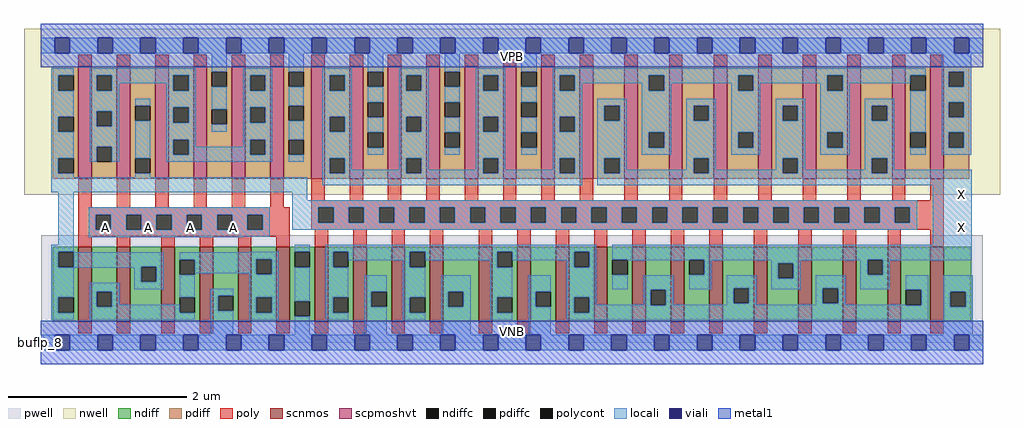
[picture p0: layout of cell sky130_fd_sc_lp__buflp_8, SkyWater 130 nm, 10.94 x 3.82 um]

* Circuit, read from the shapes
.subckt sky130_fd_sc_lp__buflp_8 A VGND VNB VPB VPWR X
XM1 n1 A n2 VNB sky130_fd_pr__nfet_01v8 w=0.84 l=0.15 m=3
XM2 VGND A n1 VNB sky130_fd_pr__nfet_01v8 w=0.84 l=0.15 m=3
XM3 n3 n2 VGND VNB sky130_fd_pr__nfet_01v8 w=0.84 l=0.15 m=8
XM4 X n2 n3 VNB sky130_fd_pr__nfet_01v8 w=0.84 l=0.15 m=8
XM5 n4 A n2 VPB sky130_fd_pr__pfet_01v8_hvt w=1.26 l=0.15 m=3
XM6 VPWR A n4 VPB sky130_fd_pr__pfet_01v8_hvt w=1.26 l=0.15 m=3
XM7 n5 n2 VPWR VPB sky130_fd_pr__pfet_01v8_hvt w=1.26 l=0.15 m=8
XM8 X n2 n5 VPB sky130_fd_pr__pfet_01v8_hvt w=1.26 l=0.15 m=8
.ends

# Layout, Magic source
magic
tech sky130A
magscale 1 2
<< nwell >>
rect -38 331 2150 704
<< pwell >>
rect 1 49 2111 241
rect 0 0 2112 49
<< scnmos >>
rect 84 47 114 215
rect 170 47 200 215
rect 270 47 300 215
rect 356 47 386 215
rect 442 47 472 215
rect 528 47 558 215
rect 614 47 644 215
rect 700 47 730 215
rect 786 47 816 215
rect 872 47 902 215
rect 982 47 1012 215
rect 1068 47 1098 215
rect 1154 47 1184 215
rect 1240 47 1270 215
rect 1326 47 1356 215
rect 1412 47 1442 215
rect 1498 47 1528 215
rect 1598 47 1628 215
rect 1698 47 1728 215
rect 1798 47 1828 215
rect 1898 47 1928 215
rect 1994 47 2024 215
<< scpmoshvt >>
rect 84 367 114 619
rect 170 367 200 619
rect 256 367 286 619
rect 342 367 372 619
rect 428 367 458 619
rect 514 367 544 619
rect 606 367 636 619
rect 692 367 722 619
rect 778 367 808 619
rect 864 367 894 619
rect 950 367 980 619
rect 1036 367 1066 619
rect 1122 367 1152 619
rect 1208 367 1238 619
rect 1308 367 1338 619
rect 1408 367 1438 619
rect 1508 367 1538 619
rect 1608 367 1638 619
rect 1708 367 1738 619
rect 1808 367 1838 619
rect 1908 367 1938 619
rect 1994 367 2024 619
<< ndiff >>
rect 27 203 84 215
rect 27 169 39 203
rect 73 169 84 203
rect 27 101 84 169
rect 27 67 39 101
rect 73 67 84 101
rect 27 47 84 67
rect 114 114 170 215
rect 114 80 125 114
rect 159 80 170 114
rect 114 47 170 80
rect 200 170 270 215
rect 200 136 225 170
rect 259 136 270 170
rect 200 47 270 136
rect 300 186 356 215
rect 300 152 311 186
rect 345 152 356 186
rect 300 101 356 152
rect 300 67 311 101
rect 345 67 356 101
rect 300 47 356 67
rect 386 105 442 215
rect 386 71 397 105
rect 431 71 442 105
rect 386 47 442 71
rect 472 187 528 215
rect 472 153 483 187
rect 517 153 528 187
rect 472 101 528 153
rect 472 67 483 101
rect 517 67 528 101
rect 472 47 528 67
rect 558 203 614 215
rect 558 169 569 203
rect 603 169 614 203
rect 558 93 614 169
rect 558 59 569 93
rect 603 59 614 93
rect 558 47 614 59
rect 644 203 700 215
rect 644 169 655 203
rect 689 169 700 203
rect 644 101 700 169
rect 644 67 655 101
rect 689 67 700 101
rect 644 47 700 67
rect 730 114 786 215
rect 730 80 741 114
rect 775 80 786 114
rect 730 47 786 80
rect 816 203 872 215
rect 816 169 827 203
rect 861 169 872 203
rect 816 101 872 169
rect 816 67 827 101
rect 861 67 872 101
rect 816 47 872 67
rect 902 114 982 215
rect 902 80 913 114
rect 947 80 982 114
rect 902 47 982 80
rect 1012 203 1068 215
rect 1012 169 1023 203
rect 1057 169 1068 203
rect 1012 101 1068 169
rect 1012 67 1023 101
rect 1057 67 1068 101
rect 1012 47 1068 67
rect 1098 114 1154 215
rect 1098 80 1109 114
rect 1143 80 1154 114
rect 1098 47 1154 80
rect 1184 203 1240 215
rect 1184 169 1195 203
rect 1229 169 1240 203
rect 1184 101 1240 169
rect 1184 67 1195 101
rect 1229 67 1240 101
rect 1184 47 1240 67
rect 1270 186 1326 215
rect 1270 152 1281 186
rect 1315 152 1326 186
rect 1270 47 1326 152
rect 1356 118 1412 215
rect 1356 84 1367 118
rect 1401 84 1412 118
rect 1356 47 1412 84
rect 1442 186 1498 215
rect 1442 152 1453 186
rect 1487 152 1498 186
rect 1442 47 1498 152
rect 1528 122 1598 215
rect 1528 88 1553 122
rect 1587 88 1598 122
rect 1528 47 1598 88
rect 1628 178 1698 215
rect 1628 144 1653 178
rect 1687 144 1698 178
rect 1628 47 1698 144
rect 1728 122 1798 215
rect 1728 88 1753 122
rect 1787 88 1798 122
rect 1728 47 1798 88
rect 1828 186 1898 215
rect 1828 152 1853 186
rect 1887 152 1898 186
rect 1828 47 1898 152
rect 1928 118 1994 215
rect 1928 84 1939 118
rect 1973 84 1994 118
rect 1928 47 1994 84
rect 2024 114 2085 215
rect 2024 80 2039 114
rect 2073 80 2085 114
rect 2024 47 2085 80
<< pdiff >>
rect 27 599 84 619
rect 27 565 39 599
rect 73 565 84 599
rect 27 506 84 565
rect 27 472 39 506
rect 73 472 84 506
rect 27 413 84 472
rect 27 379 39 413
rect 73 379 84 413
rect 27 367 84 379
rect 114 599 170 619
rect 114 565 125 599
rect 159 565 170 599
rect 114 519 170 565
rect 114 485 125 519
rect 159 485 170 519
rect 114 439 170 485
rect 114 405 125 439
rect 159 405 170 439
rect 114 367 170 405
rect 200 531 256 619
rect 200 497 211 531
rect 245 497 256 531
rect 200 413 256 497
rect 200 379 211 413
rect 245 379 256 413
rect 200 367 256 379
rect 286 599 342 619
rect 286 565 297 599
rect 331 565 342 599
rect 286 527 342 565
rect 286 493 297 527
rect 331 493 342 527
rect 286 455 342 493
rect 286 421 297 455
rect 331 421 342 455
rect 286 367 342 421
rect 372 607 428 619
rect 372 573 383 607
rect 417 573 428 607
rect 372 523 428 573
rect 372 489 383 523
rect 417 489 428 523
rect 372 367 428 489
rect 458 599 514 619
rect 458 565 469 599
rect 503 565 514 599
rect 458 527 514 565
rect 458 493 469 527
rect 503 493 514 527
rect 458 455 514 493
rect 458 421 469 455
rect 503 421 514 455
rect 458 367 514 421
rect 544 607 606 619
rect 544 573 555 607
rect 589 573 606 607
rect 544 531 606 573
rect 544 497 555 531
rect 589 497 606 531
rect 544 455 606 497
rect 544 421 555 455
rect 589 421 606 455
rect 544 367 606 421
rect 636 599 692 619
rect 636 565 647 599
rect 681 565 692 599
rect 636 506 692 565
rect 636 472 647 506
rect 681 472 692 506
rect 636 413 692 472
rect 636 379 647 413
rect 681 379 692 413
rect 636 367 692 379
rect 722 607 778 619
rect 722 573 733 607
rect 767 573 778 607
rect 722 539 778 573
rect 722 505 733 539
rect 767 505 778 539
rect 722 471 778 505
rect 722 437 733 471
rect 767 437 778 471
rect 722 367 778 437
rect 808 599 864 619
rect 808 565 819 599
rect 853 565 864 599
rect 808 506 864 565
rect 808 472 819 506
rect 853 472 864 506
rect 808 413 864 472
rect 808 379 819 413
rect 853 379 864 413
rect 808 367 864 379
rect 894 607 950 619
rect 894 573 905 607
rect 939 573 950 607
rect 894 539 950 573
rect 894 505 905 539
rect 939 505 950 539
rect 894 471 950 505
rect 894 437 905 471
rect 939 437 950 471
rect 894 367 950 437
rect 980 599 1036 619
rect 980 565 991 599
rect 1025 565 1036 599
rect 980 506 1036 565
rect 980 472 991 506
rect 1025 472 1036 506
rect 980 413 1036 472
rect 980 379 991 413
rect 1025 379 1036 413
rect 980 367 1036 379
rect 1066 607 1122 619
rect 1066 573 1077 607
rect 1111 573 1122 607
rect 1066 539 1122 573
rect 1066 505 1077 539
rect 1111 505 1122 539
rect 1066 471 1122 505
rect 1066 437 1077 471
rect 1111 437 1122 471
rect 1066 367 1122 437
rect 1152 599 1208 619
rect 1152 565 1163 599
rect 1197 565 1208 599
rect 1152 506 1208 565
rect 1152 472 1163 506
rect 1197 472 1208 506
rect 1152 413 1208 472
rect 1152 379 1163 413
rect 1197 379 1208 413
rect 1152 367 1208 379
rect 1238 531 1308 619
rect 1238 497 1263 531
rect 1297 497 1308 531
rect 1238 413 1308 497
rect 1238 379 1263 413
rect 1297 379 1308 413
rect 1238 367 1308 379
rect 1338 599 1408 619
rect 1338 565 1363 599
rect 1397 565 1408 599
rect 1338 471 1408 565
rect 1338 437 1363 471
rect 1397 437 1408 471
rect 1338 367 1408 437
rect 1438 531 1508 619
rect 1438 497 1463 531
rect 1497 497 1508 531
rect 1438 413 1508 497
rect 1438 379 1463 413
rect 1497 379 1508 413
rect 1438 367 1508 379
rect 1538 599 1608 619
rect 1538 565 1563 599
rect 1597 565 1608 599
rect 1538 471 1608 565
rect 1538 437 1563 471
rect 1597 437 1608 471
rect 1538 367 1608 437
rect 1638 531 1708 619
rect 1638 497 1663 531
rect 1697 497 1708 531
rect 1638 413 1708 497
rect 1638 379 1663 413
rect 1697 379 1708 413
rect 1638 367 1708 379
rect 1738 599 1808 619
rect 1738 565 1763 599
rect 1797 565 1808 599
rect 1738 471 1808 565
rect 1738 437 1763 471
rect 1797 437 1808 471
rect 1738 367 1808 437
rect 1838 531 1908 619
rect 1838 497 1863 531
rect 1897 497 1908 531
rect 1838 413 1908 497
rect 1838 379 1863 413
rect 1897 379 1908 413
rect 1838 367 1908 379
rect 1938 599 1994 619
rect 1938 565 1949 599
rect 1983 565 1994 599
rect 1938 471 1994 565
rect 1938 437 1949 471
rect 1983 437 1994 471
rect 1938 367 1994 437
rect 2024 607 2081 619
rect 2024 573 2035 607
rect 2069 573 2081 607
rect 2024 539 2081 573
rect 2024 505 2035 539
rect 2069 505 2081 539
rect 2024 471 2081 505
rect 2024 437 2035 471
rect 2069 437 2081 471
rect 2024 367 2081 437
<< ndiffc >>
rect 39 169 73 203
rect 39 67 73 101
rect 125 80 159 114
rect 225 136 259 170
rect 311 152 345 186
rect 311 67 345 101
rect 397 71 431 105
rect 483 153 517 187
rect 483 67 517 101
rect 569 169 603 203
rect 569 59 603 93
rect 655 169 689 203
rect 655 67 689 101
rect 741 80 775 114
rect 827 169 861 203
rect 827 67 861 101
rect 913 80 947 114
rect 1023 169 1057 203
rect 1023 67 1057 101
rect 1109 80 1143 114
rect 1195 169 1229 203
rect 1195 67 1229 101
rect 1281 152 1315 186
rect 1367 84 1401 118
rect 1453 152 1487 186
rect 1553 88 1587 122
rect 1653 144 1687 178
rect 1753 88 1787 122
rect 1853 152 1887 186
rect 1939 84 1973 118
rect 2039 80 2073 114
<< pdiffc >>
rect 39 565 73 599
rect 39 472 73 506
rect 39 379 73 413
rect 125 565 159 599
rect 125 485 159 519
rect 125 405 159 439
rect 211 497 245 531
rect 211 379 245 413
rect 297 565 331 599
rect 297 493 331 527
rect 297 421 331 455
rect 383 573 417 607
rect 383 489 417 523
rect 469 565 503 599
rect 469 493 503 527
rect 469 421 503 455
rect 555 573 589 607
rect 555 497 589 531
rect 555 421 589 455
rect 647 565 681 599
rect 647 472 681 506
rect 647 379 681 413
rect 733 573 767 607
rect 733 505 767 539
rect 733 437 767 471
rect 819 565 853 599
rect 819 472 853 506
rect 819 379 853 413
rect 905 573 939 607
rect 905 505 939 539
rect 905 437 939 471
rect 991 565 1025 599
rect 991 472 1025 506
rect 991 379 1025 413
rect 1077 573 1111 607
rect 1077 505 1111 539
rect 1077 437 1111 471
rect 1163 565 1197 599
rect 1163 472 1197 506
rect 1163 379 1197 413
rect 1263 497 1297 531
rect 1263 379 1297 413
rect 1363 565 1397 599
rect 1363 437 1397 471
rect 1463 497 1497 531
rect 1463 379 1497 413
rect 1563 565 1597 599
rect 1563 437 1597 471
rect 1663 497 1697 531
rect 1663 379 1697 413
rect 1763 565 1797 599
rect 1763 437 1797 471
rect 1863 497 1897 531
rect 1863 379 1897 413
rect 1949 565 1983 599
rect 1949 437 1983 471
rect 2035 573 2069 607
rect 2035 505 2069 539
rect 2035 437 2069 471
<< poly >>
rect 84 619 114 645
rect 170 619 200 645
rect 256 619 286 645
rect 342 619 372 645
rect 428 619 458 645
rect 514 619 544 645
rect 606 619 636 645
rect 692 619 722 645
rect 778 619 808 645
rect 864 619 894 645
rect 950 619 980 645
rect 1036 619 1066 645
rect 1122 619 1152 645
rect 1208 619 1238 645
rect 1308 619 1338 645
rect 1408 619 1438 645
rect 1508 619 1538 645
rect 1608 619 1638 645
rect 1708 619 1738 645
rect 1808 619 1838 645
rect 1908 619 1938 645
rect 1994 619 2024 645
rect 84 303 114 367
rect 170 303 200 367
rect 256 303 286 367
rect 342 303 372 367
rect 428 303 458 367
rect 514 303 544 367
rect 606 319 636 367
rect 692 319 722 367
rect 778 319 808 367
rect 864 319 894 367
rect 950 319 980 367
rect 1036 319 1066 367
rect 1122 319 1152 367
rect 1208 319 1238 367
rect 1308 319 1338 367
rect 1408 319 1438 367
rect 1508 319 1538 367
rect 1608 319 1638 367
rect 1708 319 1738 367
rect 1808 319 1838 367
rect 1908 319 1938 367
rect 1994 319 2024 367
rect 606 303 2024 319
rect 84 287 558 303
rect 84 253 123 287
rect 157 253 191 287
rect 225 253 259 287
rect 293 253 327 287
rect 361 253 395 287
rect 429 253 463 287
rect 497 253 558 287
rect 606 269 622 303
rect 656 269 690 303
rect 724 269 758 303
rect 792 269 826 303
rect 860 269 894 303
rect 928 269 962 303
rect 996 269 1030 303
rect 1064 269 1098 303
rect 1132 269 1166 303
rect 1200 269 1234 303
rect 1268 269 1302 303
rect 1336 269 1370 303
rect 1404 269 1438 303
rect 1472 269 1506 303
rect 1540 269 1574 303
rect 1608 269 1642 303
rect 1676 269 1710 303
rect 1744 269 1778 303
rect 1812 269 1846 303
rect 1880 269 1914 303
rect 1948 269 2024 303
rect 606 253 2024 269
rect 84 237 558 253
rect 84 215 114 237
rect 170 215 200 237
rect 270 215 300 237
rect 356 215 386 237
rect 442 215 472 237
rect 528 215 558 237
rect 614 215 644 253
rect 700 215 730 253
rect 786 215 816 253
rect 872 215 902 253
rect 982 215 1012 253
rect 1068 215 1098 253
rect 1154 215 1184 253
rect 1240 215 1270 253
rect 1326 215 1356 253
rect 1412 215 1442 253
rect 1498 215 1528 253
rect 1598 215 1628 253
rect 1698 215 1728 253
rect 1798 215 1828 253
rect 1898 215 1928 253
rect 1994 215 2024 253
rect 84 21 114 47
rect 170 21 200 47
rect 270 21 300 47
rect 356 21 386 47
rect 442 21 472 47
rect 528 21 558 47
rect 614 21 644 47
rect 700 21 730 47
rect 786 21 816 47
rect 872 21 902 47
rect 982 21 1012 47
rect 1068 21 1098 47
rect 1154 21 1184 47
rect 1240 21 1270 47
rect 1326 21 1356 47
rect 1412 21 1442 47
rect 1498 21 1528 47
rect 1598 21 1628 47
rect 1698 21 1728 47
rect 1798 21 1828 47
rect 1898 21 1928 47
rect 1994 21 2024 47
<< polycont >>
rect 123 253 157 287
rect 191 253 225 287
rect 259 253 293 287
rect 327 253 361 287
rect 395 253 429 287
rect 463 253 497 287
rect 622 269 656 303
rect 690 269 724 303
rect 758 269 792 303
rect 826 269 860 303
rect 894 269 928 303
rect 962 269 996 303
rect 1030 269 1064 303
rect 1098 269 1132 303
rect 1166 269 1200 303
rect 1234 269 1268 303
rect 1302 269 1336 303
rect 1370 269 1404 303
rect 1438 269 1472 303
rect 1506 269 1540 303
rect 1574 269 1608 303
rect 1642 269 1676 303
rect 1710 269 1744 303
rect 1778 269 1812 303
rect 1846 269 1880 303
rect 1914 269 1948 303
<< locali >>
rect 0 649 31 683
rect 65 649 127 683
rect 161 649 223 683
rect 257 649 319 683
rect 353 649 415 683
rect 449 649 511 683
rect 545 649 607 683
rect 641 649 703 683
rect 737 649 799 683
rect 833 649 895 683
rect 929 649 991 683
rect 1025 649 1087 683
rect 1121 649 1183 683
rect 1217 649 1279 683
rect 1313 649 1375 683
rect 1409 649 1471 683
rect 1505 649 1567 683
rect 1601 649 1663 683
rect 1697 649 1759 683
rect 1793 649 1855 683
rect 1889 649 1951 683
rect 1985 649 2047 683
rect 2081 649 2112 683
rect 23 599 73 615
rect 23 565 39 599
rect 23 506 73 565
rect 23 472 39 506
rect 23 413 73 472
rect 23 379 39 413
rect 109 599 347 615
rect 109 565 125 599
rect 159 581 297 599
rect 159 565 175 581
rect 109 519 175 565
rect 281 565 297 581
rect 331 565 347 599
rect 109 485 125 519
rect 159 485 175 519
rect 109 439 175 485
rect 109 405 125 439
rect 159 405 175 439
rect 211 531 245 547
rect 211 413 245 497
rect 23 371 73 379
rect 281 527 347 565
rect 281 493 297 527
rect 331 493 347 527
rect 281 455 347 493
rect 383 607 417 649
rect 383 523 417 573
rect 383 473 417 489
rect 453 599 519 615
rect 453 565 469 599
rect 503 565 519 599
rect 453 527 519 565
rect 453 493 469 527
rect 503 493 519 527
rect 281 421 297 455
rect 331 439 347 455
rect 453 455 519 493
rect 453 439 469 455
rect 331 421 469 439
rect 503 421 519 455
rect 281 405 519 421
rect 555 607 589 649
rect 555 531 589 573
rect 555 455 589 497
rect 555 405 589 421
rect 631 599 697 615
rect 631 565 647 599
rect 681 565 697 599
rect 631 506 697 565
rect 631 472 647 506
rect 681 472 697 506
rect 631 413 697 472
rect 733 607 767 649
rect 733 539 767 573
rect 733 471 767 505
rect 733 421 767 437
rect 803 599 869 615
rect 803 565 819 599
rect 853 565 869 599
rect 803 506 869 565
rect 803 472 819 506
rect 853 472 869 506
rect 211 371 245 379
rect 631 379 647 413
rect 681 387 697 413
rect 803 413 869 472
rect 905 607 939 649
rect 905 539 939 573
rect 905 471 939 505
rect 905 421 939 437
rect 975 599 1041 615
rect 975 565 991 599
rect 1025 565 1041 599
rect 975 506 1041 565
rect 975 472 991 506
rect 1025 472 1041 506
rect 803 387 819 413
rect 681 379 819 387
rect 853 387 869 413
rect 975 413 1041 472
rect 1077 607 1111 649
rect 1077 539 1111 573
rect 1077 471 1111 505
rect 1077 421 1111 437
rect 1147 599 1983 615
rect 1147 565 1163 599
rect 1197 581 1363 599
rect 1197 565 1213 581
rect 1147 506 1213 565
rect 1347 565 1363 581
rect 1397 581 1563 599
rect 1397 565 1413 581
rect 1147 472 1163 506
rect 1197 472 1213 506
rect 975 387 991 413
rect 853 379 991 387
rect 1025 387 1041 413
rect 1147 413 1213 472
rect 1147 387 1163 413
rect 1025 379 1163 387
rect 1197 379 1213 413
rect 23 337 597 371
rect 631 353 1213 379
rect 1247 531 1313 547
rect 1247 497 1263 531
rect 1297 497 1313 531
rect 1247 413 1313 497
rect 1347 471 1413 565
rect 1547 565 1563 581
rect 1597 581 1763 599
rect 1597 565 1613 581
rect 1347 437 1363 471
rect 1397 437 1413 471
rect 1347 421 1413 437
rect 1447 531 1513 547
rect 1447 497 1463 531
rect 1497 497 1513 531
rect 1247 379 1263 413
rect 1297 387 1313 413
rect 1447 413 1513 497
rect 1547 471 1613 565
rect 1747 565 1763 581
rect 1797 581 1949 599
rect 1797 565 1813 581
rect 1547 437 1563 471
rect 1597 437 1613 471
rect 1547 421 1613 437
rect 1647 531 1713 547
rect 1647 497 1663 531
rect 1697 497 1713 531
rect 1447 387 1463 413
rect 1297 379 1463 387
rect 1497 387 1513 413
rect 1647 413 1713 497
rect 1747 471 1813 565
rect 1747 437 1763 471
rect 1797 437 1813 471
rect 1747 421 1813 437
rect 1847 531 1913 547
rect 1847 497 1863 531
rect 1897 497 1913 531
rect 1647 387 1663 413
rect 1497 379 1663 387
rect 1697 387 1713 413
rect 1847 413 1913 497
rect 1949 471 1983 565
rect 1949 421 1983 437
rect 2019 607 2085 649
rect 2019 573 2035 607
rect 2069 573 2085 607
rect 2019 539 2085 573
rect 2019 505 2035 539
rect 2069 505 2085 539
rect 2019 471 2085 505
rect 2019 437 2035 471
rect 2069 437 2085 471
rect 2019 421 2085 437
rect 1847 387 1863 413
rect 1697 379 1863 387
rect 1897 387 1913 413
rect 1897 379 2087 387
rect 1247 353 2087 379
rect 39 219 73 337
rect 563 319 597 337
rect 563 303 1964 319
rect 107 287 513 303
rect 107 253 123 287
rect 157 253 191 287
rect 225 253 259 287
rect 293 253 327 287
rect 361 253 395 287
rect 429 253 463 287
rect 497 253 513 287
rect 563 269 622 303
rect 656 269 690 303
rect 724 269 758 303
rect 792 269 826 303
rect 860 269 894 303
rect 928 269 962 303
rect 996 269 1030 303
rect 1064 269 1098 303
rect 1132 269 1166 303
rect 1200 269 1234 303
rect 1268 269 1302 303
rect 1336 269 1370 303
rect 1404 269 1438 303
rect 1472 269 1506 303
rect 1540 269 1574 303
rect 1608 269 1642 303
rect 1676 269 1710 303
rect 1744 269 1778 303
rect 1812 269 1846 303
rect 1880 269 1914 303
rect 1948 269 1964 303
rect 563 253 1964 269
rect 107 237 513 253
rect 107 236 451 237
rect 1999 219 2087 353
rect 23 203 73 219
rect 569 203 603 219
rect 23 169 39 203
rect 467 202 533 203
rect 73 170 275 202
rect 73 169 225 170
rect 23 168 225 169
rect 23 101 73 168
rect 209 136 225 168
rect 259 136 275 170
rect 23 67 39 101
rect 23 51 73 67
rect 109 114 175 134
rect 209 119 275 136
rect 311 187 533 202
rect 311 186 483 187
rect 345 155 483 186
rect 109 80 125 114
rect 159 85 175 114
rect 311 101 345 152
rect 467 153 483 155
rect 517 153 533 187
rect 159 80 311 85
rect 109 67 311 80
rect 109 51 345 67
rect 381 105 431 121
rect 381 71 397 105
rect 381 17 431 71
rect 467 101 533 153
rect 467 67 483 101
rect 517 67 533 101
rect 467 51 533 67
rect 569 93 603 169
rect 569 17 603 59
rect 639 203 1245 219
rect 639 169 655 203
rect 689 185 827 203
rect 639 101 689 169
rect 811 169 827 185
rect 861 185 1023 203
rect 639 67 655 101
rect 639 51 689 67
rect 725 114 775 151
rect 725 80 741 114
rect 725 17 775 80
rect 811 101 861 169
rect 1007 169 1023 185
rect 1057 185 1195 203
rect 811 67 827 101
rect 811 51 861 67
rect 897 114 963 151
rect 897 80 913 114
rect 947 80 963 114
rect 897 17 963 80
rect 1007 101 1057 169
rect 1179 169 1195 185
rect 1229 169 1245 203
rect 1007 67 1023 101
rect 1007 51 1057 67
rect 1093 114 1143 151
rect 1093 80 1109 114
rect 1093 17 1143 80
rect 1179 101 1245 169
rect 1281 186 2087 219
rect 1315 185 1453 186
rect 1281 119 1315 152
rect 1487 185 1853 186
rect 1487 152 1503 185
rect 1179 67 1195 101
rect 1229 85 1245 101
rect 1351 118 1417 151
rect 1453 119 1503 152
rect 1637 178 1703 185
rect 1537 122 1603 151
rect 1351 85 1367 118
rect 1229 84 1367 85
rect 1401 85 1417 118
rect 1537 88 1553 122
rect 1587 88 1603 122
rect 1637 144 1653 178
rect 1687 144 1703 178
rect 1837 152 1853 185
rect 1887 185 2087 186
rect 1887 152 1903 185
rect 1637 119 1703 144
rect 1737 122 1803 151
rect 1537 85 1603 88
rect 1737 88 1753 122
rect 1787 88 1803 122
rect 1837 119 1903 152
rect 1737 85 1803 88
rect 1939 118 1989 151
rect 1401 84 1939 85
rect 1973 84 1989 118
rect 1229 67 1989 84
rect 1179 51 1989 67
rect 2023 114 2089 151
rect 2023 80 2039 114
rect 2073 80 2089 114
rect 2023 17 2089 80
rect 0 -17 31 17
rect 65 -17 127 17
rect 161 -17 223 17
rect 257 -17 319 17
rect 353 -17 415 17
rect 449 -17 511 17
rect 545 -17 607 17
rect 641 -17 703 17
rect 737 -17 799 17
rect 833 -17 895 17
rect 929 -17 991 17
rect 1025 -17 1087 17
rect 1121 -17 1183 17
rect 1217 -17 1279 17
rect 1313 -17 1375 17
rect 1409 -17 1471 17
rect 1505 -17 1567 17
rect 1601 -17 1663 17
rect 1697 -17 1759 17
rect 1793 -17 1855 17
rect 1889 -17 1951 17
rect 1985 -17 2047 17
rect 2081 -17 2112 17
<< viali >>
rect 31 649 65 683
rect 127 649 161 683
rect 223 649 257 683
rect 319 649 353 683
rect 415 649 449 683
rect 511 649 545 683
rect 607 649 641 683
rect 703 649 737 683
rect 799 649 833 683
rect 895 649 929 683
rect 991 649 1025 683
rect 1087 649 1121 683
rect 1183 649 1217 683
rect 1279 649 1313 683
rect 1375 649 1409 683
rect 1471 649 1505 683
rect 1567 649 1601 683
rect 1663 649 1697 683
rect 1759 649 1793 683
rect 1855 649 1889 683
rect 1951 649 1985 683
rect 2047 649 2081 683
rect 31 -17 65 17
rect 127 -17 161 17
rect 223 -17 257 17
rect 319 -17 353 17
rect 415 -17 449 17
rect 511 -17 545 17
rect 607 -17 641 17
rect 703 -17 737 17
rect 799 -17 833 17
rect 895 -17 929 17
rect 991 -17 1025 17
rect 1087 -17 1121 17
rect 1183 -17 1217 17
rect 1279 -17 1313 17
rect 1375 -17 1409 17
rect 1471 -17 1505 17
rect 1567 -17 1601 17
rect 1663 -17 1697 17
rect 1759 -17 1793 17
rect 1855 -17 1889 17
rect 1951 -17 1985 17
rect 2047 -17 2081 17
<< metal1 >>
rect 0 683 2112 715
rect 0 649 31 683
rect 65 649 127 683
rect 161 649 223 683
rect 257 649 319 683
rect 353 649 415 683
rect 449 649 511 683
rect 545 649 607 683
rect 641 649 703 683
rect 737 649 799 683
rect 833 649 895 683
rect 929 649 991 683
rect 1025 649 1087 683
rect 1121 649 1183 683
rect 1217 649 1279 683
rect 1313 649 1375 683
rect 1409 649 1471 683
rect 1505 649 1567 683
rect 1601 649 1663 683
rect 1697 649 1759 683
rect 1793 649 1855 683
rect 1889 649 1951 683
rect 1985 649 2047 683
rect 2081 649 2112 683
rect 0 617 2112 649
rect 0 17 2112 49
rect 0 -17 31 17
rect 65 -17 127 17
rect 161 -17 223 17
rect 257 -17 319 17
rect 353 -17 415 17
rect 449 -17 511 17
rect 545 -17 607 17
rect 641 -17 703 17
rect 737 -17 799 17
rect 833 -17 895 17
rect 929 -17 991 17
rect 1025 -17 1087 17
rect 1121 -17 1183 17
rect 1217 -17 1279 17
rect 1313 -17 1375 17
rect 1409 -17 1471 17
rect 1505 -17 1567 17
rect 1601 -17 1663 17
rect 1697 -17 1759 17
rect 1793 -17 1855 17
rect 1889 -17 1951 17
rect 1985 -17 2047 17
rect 2081 -17 2112 17
rect 0 -49 2112 -17
<< labels >>
flabel pwell s 0 0 2112 49 0 FreeSans 200 0 0 0 VNB
port 3 nsew ground bidirectional
flabel nwell s 0 617 2112 666 0 FreeSans 200 0 0 0 VPB
port 4 nsew power bidirectional
rlabel comment s 0 0 0 0 4 buflp_8
flabel metal1 s 0 617 2112 666 0 FreeSans 340 0 0 0 VPWR
port 5 nsew power bidirectional
flabel metal1 s 0 0 2112 49 0 FreeSans 340 0 0 0 VGND
port 2 nsew ground bidirectional
flabel locali s 319 242 353 276 0 FreeSans 340 0 0 0 A
port 1 nsew signal input
flabel locali s 2047 242 2081 276 0 FreeSans 340 0 0 0 X
port 6 nsew signal output
flabel locali s 2047 316 2081 350 0 FreeSans 340 0 0 0 X
port 6 nsew signal output
flabel locali s 415 242 449 276 0 FreeSans 340 0 0 0 A
port 1 nsew signal input
flabel locali s 127 242 161 276 0 FreeSans 340 0 0 0 A
port 1 nsew signal input
flabel locali s 223 242 257 276 0 FreeSans 340 0 0 0 A
port 1 nsew signal input
<< properties >>
string LEFsite unit
string LEFclass CORE
string FIXED_BBOX 0 0 2112 666
string GDS_FILE $PDKPATH/libs.ref/sky130_fd_sc_lp/gds/sky130_fd_sc_lp.gds
string LEFsymmetry X Y R90
string GDS_END 6962294
string GDS_START 6946532
<< end >>
